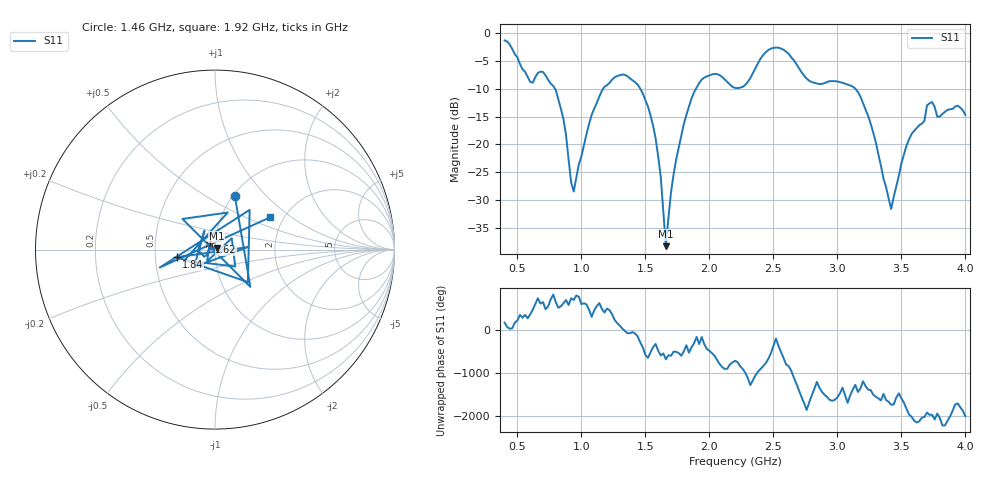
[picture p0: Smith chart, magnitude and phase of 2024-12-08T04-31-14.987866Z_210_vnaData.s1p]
!Created with skrf (http://scikit-rf.org).
# Hz S RI R 50.0
!freq ReS11 ImS11
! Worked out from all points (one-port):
!   181 points, 400 MHz to 4 GHz, reference 50 ohm
!   lowest |S11| = -38.3 dB at 1.66 GHz (marker M1), VSWR 1.02, Z = 51 + j0.718 ohm
!   |S11| at or under -10 dB: 793.5 MHz to 1.17 GHz (377 MHz wide, 38.4 % of centre); 1.46 GHz to 1.895 GHz (435 MHz wide, 25.9 % of centre); 3.141 GHz to end of sweep
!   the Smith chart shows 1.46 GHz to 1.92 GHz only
!   S11 on the Smith chart (normalised r, x): 1.46 GHz: 1.02, +0.67; 1.62 GHz: 0.94, +0.08; 1.84 GHz: 0.65, -0.06; 1.92 GHz: 1.70, +0.70
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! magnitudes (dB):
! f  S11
! 400 MHz  -1.3
! 600 MHz  -8.8
! 720 MHz  -7.6
! 800 MHz  -10.2
! 860 MHz  -15.5
! 940 MHz  -28.5
! 1.08 GHz  -14.7
! 1.3 GHz  -7.6
! 1.46 GHz  -10.0
! 1.56 GHz  -16.6
! 1.62 GHz  -25.9
! 1.66 GHz  -38.3
! 1.7 GHz  -28.6
! 1.76 GHz  -20.6
! 1.84 GHz  -13.2
! 1.92 GHz  -9.0
! 2.06 GHz  -7.4
! 2.2 GHz  -9.8
! 2.48 GHz  -2.8
! 2.66 GHz  -4.9
! 2.8 GHz  -8.8
! 3.1 GHz  -9.4
! 3.24 GHz  -14.9
! 3.42 GHz  -31.6
! 3.56 GHz  -19.1
! 3.74 GHz  -12.4
! 3.78 GHz  -15.0
! 4 GHz  -14.7
